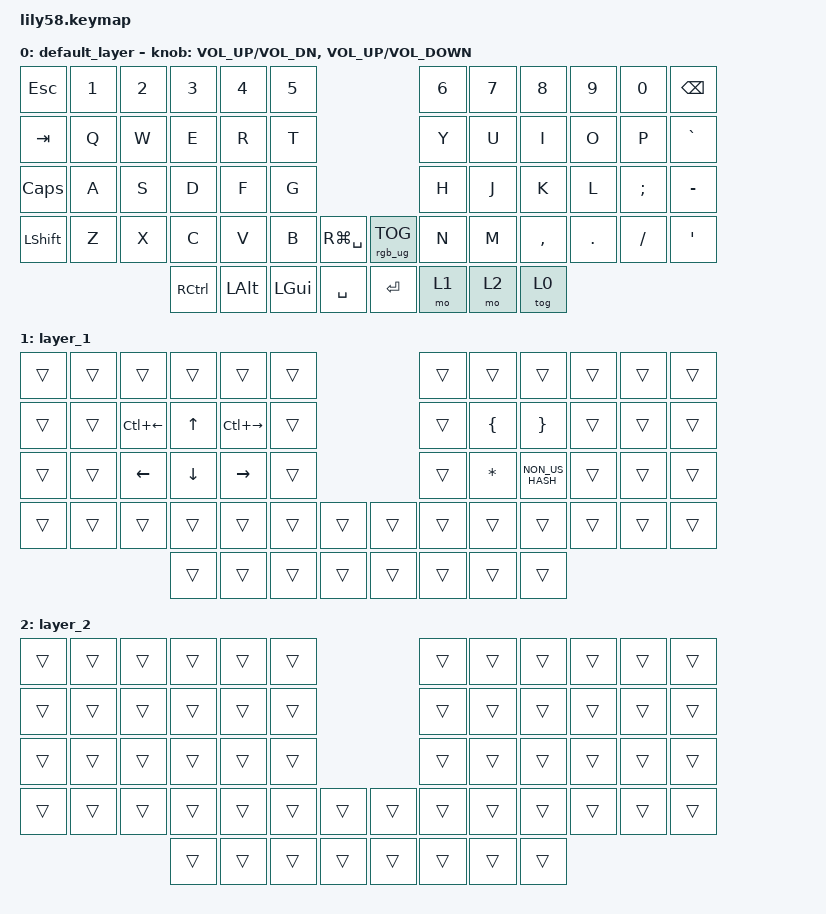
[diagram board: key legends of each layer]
/*
 * Copyright (c) 2020 The ZMK Contributors
 *
 * SPDX-License-Identifier: MIT
 */

#include <behaviors.dtsi>
#include <dt-bindings/zmk/keys.h>
#include <dt-bindings/zmk/rgb.h>

/ {
    // Activate ADJUST layer by pressing raise and lower

    conditional_layers {
        compatible = "zmk,conditional-layers";

        adjust_layer {
            if-layers = <1 1>;
            then-layer = <1>;
        };
    };

    keymap {
        compatible = "zmk,keymap";

        default_layer {
            // ------------------------------------------------------------------------------------------------------------
            // |  ESC  |  1  |  2  |  3   |  4   |  5   |                   |  6   |  7    |  8    |  9   |   0   |   `   |
            // |  TAB  |  Q  |  W  |  E   |  R   |  T   |                   |  Y   |  U    |  I    |  O   |   P   |   -   |
            // |  CTRL |  A  |  S  |  D   |  F   |  G   |                   |  H   |  J    |  K    |  L   |   ;   |   '   |
            // | SHIFT |  Z  |  X  |  C   |  V   |  B   |  MUTE  |  |RGB_TOG|  N   |  M    |  ,    |  .   |   /   | SHIFT |
            //                     | ALT  | GUI  | LOWER|  SPACE |  | ENTER | RAISE| BSPC  | GUI   |

            bindings = <
&kp ESC       &kp N1  &kp N2  &kp N3             &kp N4        &kp N5                                          &kp N6  &kp N7  &kp N8     &kp N9   &kp N0    &kp BACKSPACE
&kp TAB       &kp Q   &kp W   &kp E              &kp R         &kp T                                           &kp Y   &kp U   &kp I      &kp O    &kp P     &kp GRAVE
&kp CAPSLOCK  &kp A   &kp S   &kp D              &kp F         &kp G                                           &kp H   &kp J   &kp K      &kp L    &kp SEMI  &kp MINUS
&kp LSHFT     &kp Z   &kp X   &kp C              &kp V         &kp B         &kp RG(SPACE)    &rgb_ug RGB_TOG  &kp N   &kp M   &kp COMMA  &kp DOT  &kp FSLH  &kp SINGLE_QUOTE
                              &kp RIGHT_CONTROL  &kp LEFT_ALT  &kp LEFT_GUI  &kp SPACE        &kp RET          &mo 1   &mo 2   &tog 0
            >;

            sensor-bindings =
                <&inc_dec_kp C_VOL_UP C_VOL_DN>,
                <&inc_dec_kp C_VOLUME_UP C_VOLUME_DOWN>;
        };

        layer_1 {
            bindings = <
&trans  &trans  &trans          &trans          &trans         &trans                    &trans  &trans          &trans           &trans  &trans  &trans
&trans  &trans  &kp LC(LEFT)    &kp UP_ARROW    &kp LC(RIGHT)  &trans                    &trans  &kp LEFT_BRACE  &kp RIGHT_BRACE  &trans  &trans  &trans
&trans  &trans  &kp LEFT_ARROW  &kp DOWN_ARROW  &kp RIGHT      &trans                    &trans  &kp ASTERISK    &kp NON_US_HASH  &trans  &trans  &trans
&trans  &trans  &trans          &trans          &trans         &trans  &trans    &trans  &trans  &trans          &trans           &trans  &trans  &trans
                                &trans          &trans         &trans  &trans    &trans  &trans  &trans          &trans
            >;
        };

        layer_2 {
            bindings = <
&trans  &trans  &trans  &trans  &trans  &trans                    &trans  &trans  &trans  &trans  &trans  &trans
&trans  &trans  &trans  &trans  &trans  &trans                    &trans  &trans  &trans  &trans  &trans  &trans
&trans  &trans  &trans  &trans  &trans  &trans                    &trans  &trans  &trans  &trans  &trans  &trans
&trans  &trans  &trans  &trans  &trans  &trans  &trans    &trans  &trans  &trans  &trans  &trans  &trans  &trans
                        &trans  &trans  &trans  &trans    &trans  &trans  &trans  &trans
            >;
        };
    };
};
